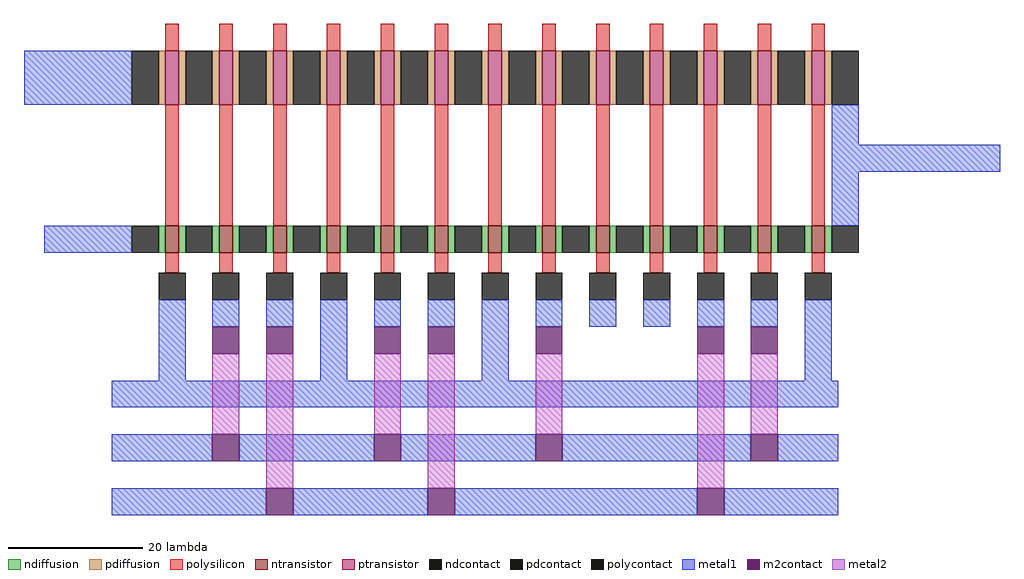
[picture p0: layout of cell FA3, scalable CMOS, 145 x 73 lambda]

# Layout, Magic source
magic
tech scmos
<< polysilicon >>
rect -20 43 -18 47
rect -12 43 -10 47
rect -4 43 -2 47
rect 4 43 6 47
rect 12 43 14 47
rect 20 43 22 47
rect 28 43 30 47
rect 36 43 38 47
rect 44 43 46 47
rect 52 43 54 47
rect 60 43 62 47
rect 68 43 70 47
rect 76 43 78 47
rect -20 17 -18 35
rect -12 17 -10 35
rect -4 17 -2 35
rect 4 17 6 35
rect 12 17 14 35
rect 20 17 22 35
rect 28 17 30 35
rect 36 17 38 35
rect 44 17 46 35
rect 52 17 54 35
rect 60 17 62 35
rect 68 17 70 35
rect 76 17 78 35
rect -20 10 -18 13
rect -12 10 -10 13
rect -4 10 -2 13
rect 4 10 6 13
rect 12 10 14 13
rect 20 10 22 13
rect 28 10 30 13
rect 36 10 38 13
rect 44 10 46 13
rect 52 10 54 13
rect 60 10 62 13
rect 68 10 70 13
rect 76 10 78 13
<< ndiffusion >>
rect -21 13 -20 17
rect -18 13 -17 17
rect -13 13 -12 17
rect -10 13 -9 17
rect -5 13 -4 17
rect -2 13 -1 17
rect 3 13 4 17
rect 6 13 7 17
rect 11 13 12 17
rect 14 13 15 17
rect 19 13 20 17
rect 22 13 23 17
rect 27 13 28 17
rect 30 13 31 17
rect 35 13 36 17
rect 38 13 39 17
rect 43 13 44 17
rect 46 13 47 17
rect 51 13 52 17
rect 54 13 55 17
rect 59 13 60 17
rect 62 13 63 17
rect 67 13 68 17
rect 70 13 71 17
rect 75 13 76 17
rect 78 13 79 17
<< pdiffusion >>
rect -21 35 -20 43
rect -18 35 -17 43
rect -13 35 -12 43
rect -10 35 -9 43
rect -5 35 -4 43
rect -2 35 -1 43
rect 3 35 4 43
rect 6 35 7 43
rect 11 35 12 43
rect 14 35 15 43
rect 19 35 20 43
rect 22 35 23 43
rect 27 35 28 43
rect 30 35 31 43
rect 35 35 36 43
rect 38 35 39 43
rect 43 35 44 43
rect 46 35 47 43
rect 51 35 52 43
rect 54 35 55 43
rect 59 35 60 43
rect 62 35 63 43
rect 67 35 68 43
rect 70 35 71 43
rect 75 35 76 43
rect 78 35 79 43
<< metal1 >>
rect -41 35 -25 43
rect 79 29 83 35
rect 79 25 104 29
rect 79 17 83 25
rect -38 13 -25 17
rect -21 -6 -17 6
rect -13 2 -9 6
rect -5 2 -1 6
rect 3 -6 7 6
rect 11 2 15 6
rect 19 2 23 6
rect 27 -6 31 6
rect 35 2 39 6
rect 43 2 47 6
rect 51 2 55 6
rect 59 2 63 6
rect 67 2 71 6
rect 75 -6 79 6
rect -28 -10 80 -6
rect -28 -18 -13 -14
rect -9 -18 11 -14
rect 15 -18 35 -14
rect 39 -18 67 -14
rect 71 -18 80 -14
rect -28 -26 -5 -22
rect -1 -26 19 -22
rect 23 -26 59 -22
rect 63 -26 80 -22
<< metal2 >>
rect -13 -14 -9 -2
rect -5 -22 -1 -2
rect 11 -14 15 -2
rect 19 -22 23 -2
rect 35 -14 39 -2
rect 59 -22 63 -2
rect 67 -14 71 -2
<< ntransistor >>
rect -20 13 -18 17
rect -12 13 -10 17
rect -4 13 -2 17
rect 4 13 6 17
rect 12 13 14 17
rect 20 13 22 17
rect 28 13 30 17
rect 36 13 38 17
rect 44 13 46 17
rect 52 13 54 17
rect 60 13 62 17
rect 68 13 70 17
rect 76 13 78 17
<< ptransistor >>
rect -20 35 -18 43
rect -12 35 -10 43
rect -4 35 -2 43
rect 4 35 6 43
rect 12 35 14 43
rect 20 35 22 43
rect 28 35 30 43
rect 36 35 38 43
rect 44 35 46 43
rect 52 35 54 43
rect 60 35 62 43
rect 68 35 70 43
rect 76 35 78 43
<< polycontact >>
rect -21 6 -17 10
rect -13 6 -9 10
rect -5 6 -1 10
rect 3 6 7 10
rect 11 6 15 10
rect 19 6 23 10
rect 27 6 31 10
rect 35 6 39 10
rect 43 6 47 10
rect 51 6 55 10
rect 59 6 63 10
rect 67 6 71 10
rect 75 6 79 10
<< ndcontact >>
rect -25 13 -21 17
rect -17 13 -13 17
rect -9 13 -5 17
rect -1 13 3 17
rect 7 13 11 17
rect 15 13 19 17
rect 23 13 27 17
rect 31 13 35 17
rect 39 13 43 17
rect 47 13 51 17
rect 55 13 59 17
rect 63 13 67 17
rect 71 13 75 17
rect 79 13 83 17
<< pdcontact >>
rect -25 35 -21 43
rect -17 35 -13 43
rect -9 35 -5 43
rect -1 35 3 43
rect 7 35 11 43
rect 15 35 19 43
rect 23 35 27 43
rect 31 35 35 43
rect 39 35 43 43
rect 47 35 51 43
rect 55 35 59 43
rect 63 35 67 43
rect 71 35 75 43
rect 79 35 83 43
<< m2contact >>
rect -13 -2 -9 2
rect -5 -2 -1 2
rect 11 -2 15 2
rect 19 -2 23 2
rect 35 -2 39 2
rect 59 -2 63 2
rect 67 -2 71 2
rect -13 -18 -9 -14
rect 11 -18 15 -14
rect 35 -18 39 -14
rect 67 -18 71 -14
rect -5 -26 -1 -22
rect 19 -26 23 -22
rect 59 -26 63 -22
<< end >>
